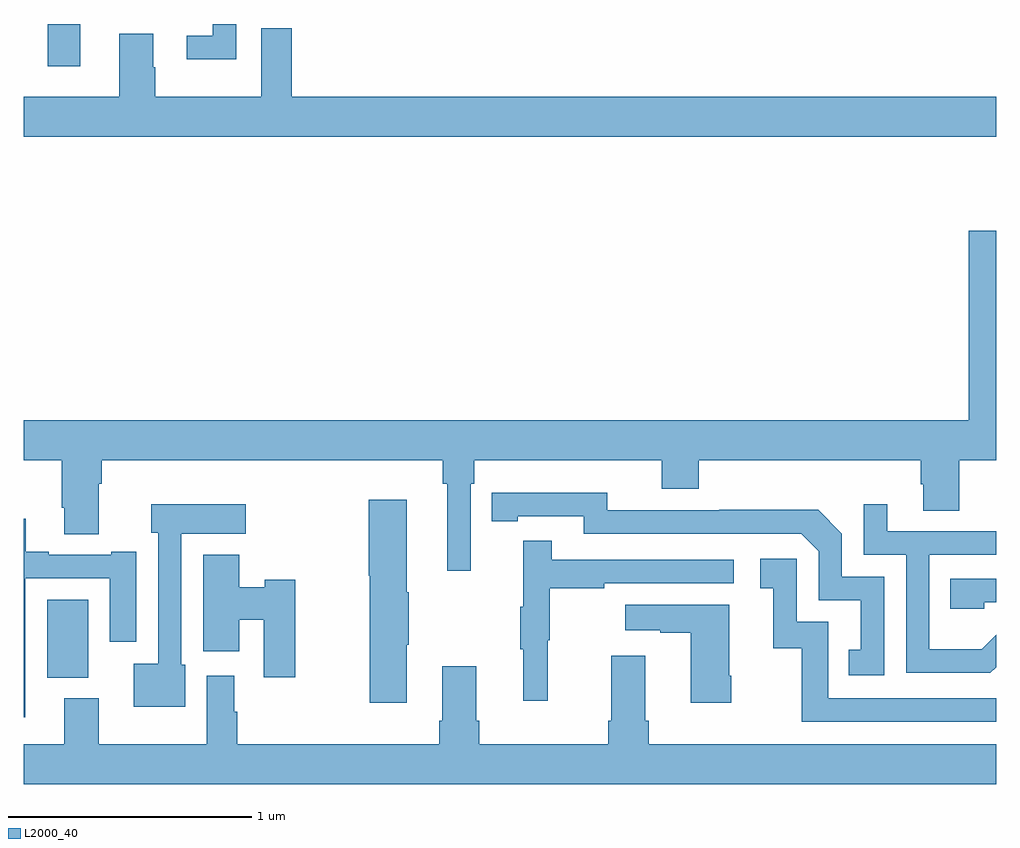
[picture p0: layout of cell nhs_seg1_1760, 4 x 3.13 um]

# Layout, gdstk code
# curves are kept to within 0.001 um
import gdstk
lib = gdstk.Library(unit=1e-6, precision=1e-09)
def R(c, l, rs):  # rectangles x0, y0, x1, y1
    for r in rs: c.add(gdstk.rectangle(r[:2], r[2:], *l))
def P(c, l, *ps):  # polygons
    for p in ps: c.add(gdstk.Polygon(p, *l))
L2000_40 = (2000, 40)

nhs_seg1_1760 = lib.new_cell('nhs_seg1_1760')
R(nhs_seg1_1760, L2000_40, [(207.095,545.51,207.265,545.83), (207.098,548.025,207.232,548.199)])
P(nhs_seg1_1760, L2000_40, [(207.873,548.199),(207.777,548.199),(207.777,548.151),(207.669,548.151),(207.669,548.054),(207.873,548.054)],
  [(211,547.9),(208.103,547.9),(208.103,548.182),(207.977,548.182),(207.977,547.9),(207.54,547.9),(207.54,548.021),(207.532,548.021),(207.532,548.158),(207.392,548.158),(207.392,547.9),(207,547.9),(207,547.736),(211,547.736)],
  [(207,546.404),(207.155,546.404),(207.155,546.208),(207.167,546.208),(207.167,546.1),(207.307,546.1),(207.307,546.308),(207.32,546.308),(207.32,546.404),(208.723,546.404),(208.723,546.308),(208.742,546.308),(208.742,545.949),(208.839,545.949),(208.839,546.308),(208.853,546.308),(208.853,546.404),(209.624,546.404),(209.624,546.287),(209.777,546.287),(209.777,546.404),(210.689,546.404),(210.689,546.306),(210.701,546.306),(210.701,546.196),(210.849,546.196),(210.849,546.404),(211,546.404),(211,547.348),(210.887,547.348),(210.887,546.568),(207,546.568)],
  [(210.54,545.925),(210.366,545.925),(210.366,546.102),(210.268,546.2),(209.86,546.2),(209.86,546.198),(209.4,546.198),(209.4,546.271),(208.924,546.27),(208.924,546.154),(209.032,546.154),(209.032,546.174),(209.304,546.174),(209.304,546.102),(210.198,546.102),(210.27,546.03),(210.27,545.829),(210.443,545.829),(210.443,545.625),(210.394,545.625),(210.394,545.52),(210.54,545.52)],
  [(208.576,545.644),(208.584,545.644),(208.584,545.861),(208.576,545.861),(208.576,546.241),(208.418,546.241),(208.418,545.928),(208.423,545.928),(208.423,545.406),(208.576,545.406)],
  [(211,545.553),(211,545.686),(210.94,545.626),(210.726,545.626),(210.726,546.015),(211,546.015),(211,546.111),(210.553,546.111),(210.553,546.223),(210.456,546.223),(210.456,546.015),(210.63,546.015),(210.63,545.529),(210.976,545.529)],
  [(207.664,545.562),(207.648,545.562),(207.648,546.101),(207.913,546.101),(207.913,546.223),(207.524,546.223),(207.524,546.105),(207.552,546.105),(207.552,545.566),(207.452,545.566),(207.452,545.39),(207.664,545.39)],
  [(207.006,545.919),(207.353,545.919),(207.353,545.658),(207.463,545.658),(207.463,546.028),(207.359,546.028),(207.359,546.015),(207.103,546.015),(207.103,546.028),(207.007,546.028),(207.007,546.163),(207,546.163),(207,545.346),(207.006,545.346)],
  [(209.156,545.664),(209.164,545.664),(209.164,545.878),(209.387,545.878),(209.387,545.898),(209.92,545.898),(209.92,545.994),(209.171,545.994),(209.171,546.073),(209.054,546.073),(209.054,545.801),(209.043,545.801),(209.043,545.627),(209.054,545.627),(209.054,545.415),(209.156,545.415)],
  [(208.116,545.912),(207.99,545.912),(207.99,545.881),(207.886,545.881),(207.886,546.016),(207.737,546.016),(207.737,545.619),(207.886,545.619),(207.886,545.747),(207.986,545.747),(207.986,545.511),(208.116,545.511)],
  [(211,545.424),(210.309,545.424),(210.309,545.739),(210.18,545.739),(210.18,545.998),(210.03,545.998),(210.03,545.877),(210.083,545.877),(210.083,545.631),(210.201,545.631),(210.201,545.328),(211,545.328)],
  [(210.951,545.82),(211,545.82),(211,545.916),(210.811,545.916),(210.811,545.793),(210.951,545.793)],
  [(209.91,545.518),(209.902,545.518),(209.902,545.809),(209.475,545.809),(209.475,545.705),(209.618,545.705),(209.618,545.695),(209.744,545.695),(209.744,545.406),(209.91,545.406)],
  [(211,545.236),(209.57,545.236),(209.57,545.332),(209.557,545.332),(209.557,545.599),(209.417,545.599),(209.417,545.332),(209.405,545.332),(209.405,545.236),(208.874,545.236),(208.874,545.332),(208.861,545.332),(208.861,545.557),(208.721,545.557),(208.721,545.332),(208.709,545.332),(208.709,545.236),(207.878,545.236),(207.878,545.369),(207.865,545.369),(207.865,545.518),(207.752,545.518),(207.752,545.236),(207.307,545.236),(207.307,545.425),(207.167,545.425),(207.167,545.236),(207,545.236),(207,545.072),(211,545.072)])

lib.write_gds('nhs_seg1_1760.gds')
